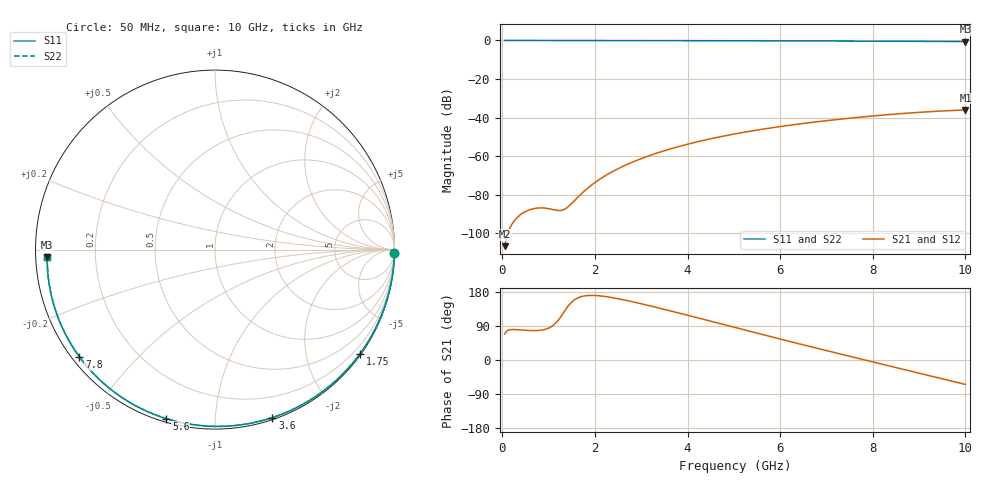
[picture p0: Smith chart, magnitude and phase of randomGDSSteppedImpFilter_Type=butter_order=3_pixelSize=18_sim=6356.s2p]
! freq	dB(S11)	phase(S11)	dB(S12)	phase(S12)
!  dB(S21)	phase(S21)	dB(S22)	phase(S22)
!S-par simulation data
#  GHz  S  DB  R 50
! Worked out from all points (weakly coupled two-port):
!   200 points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, 50 MHz to 10 GHz, reference 50 ohm
!   highest |S21| = -36.09 dB at 10 GHz (marker M1); lowest = -106.8 dB at 50 MHz (marker M2)
!   lowest |S11| = -0.6 dB at 10 GHz (marker M3), VSWR 30.16, Z = 1.66 - j1.12 ohm
!   |S11| at or under -10 dB: nowhere
!   |S22| runs from -0.6 to 0.0 dB; largest |S21 - S12| = 0
!   S11 on the Smith chart (normalised r, x): 50 MHz: open; 1.75 GHz: 0.03, -3.10; 3.6 GHz: 0.02, -1.40; 5.6 GHz: 0.02, -0.75; 7.8 GHz: 0.02, -0.35; 10 GHz: 0.03, -0.02
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0.05  -0.00 -1.0  -106.76 68.5  -106.76 68.5  -0.00 -1.0
0.45  -0.01 -9.4  -89.47 78.9  -89.47 78.9  -0.01 -9.3
0.85  -0.02 -17.6  -86.89 78.9  -86.89 78.9  -0.02 -17.6
1.65  -0.04 -33.7  -80.92 164.9  -80.92 164.9  -0.04 -33.7
1.7  -0.04 -34.7  -79.75 167.0  -79.75 167.0  -0.04 -34.7
1.75  -0.05 -35.7  -78.63 168.6  -78.63 168.6  -0.05 -35.7
1.9  -0.05 -38.7  -75.56 170.4  -75.56 170.4  -0.05 -38.7
2.05  -0.05 -41.7  -72.89 169.9  -72.89 169.9  -0.05 -41.6
2.25  -0.06 -45.6  -69.81 167.0  -69.81 167.0  -0.06 -45.6
2.45  -0.06 -49.5  -67.16 162.9  -67.16 162.9  -0.06 -49.4
2.9  -0.08 -58.1  -62.25 151.3  -62.25 151.3  -0.08 -58.0
3.4  -0.09 -67.5  -57.96 136.7  -57.96 136.7  -0.09 -67.4
3.6  -0.10 -71.1  -56.48 130.6  -56.48 130.6  -0.10 -71.1
4.3  -0.12 -83.7  -52.09 108.8  -52.09 108.8  -0.12 -83.7
5.05  -0.15 -96.8  -48.37 85.0  -48.37 85.0  -0.15 -96.7
5.6  -0.17 -106.0  -46.12 67.7  -46.12 67.7  -0.17 -106.0
6.15  -0.21 -115.1  -44.18 50.6  -44.18 50.6  -0.20 -115.0
6.7  -0.24 -124.1  -42.47 33.8  -42.47 33.8  -0.24 -124.0
7.8  -0.33 -141.7  -39.63 0.9  -39.63 0.9  -0.33 -141.6
8.35  -0.38 -150.4  -38.45 -15.5  -38.45 -15.5  -0.38 -150.3
9.2  -0.47 -164.2  -36.99 -40.8  -36.99 -40.8  -0.47 -164.0
10  -0.58 -177.4  -36.09 -64.4  -36.09 -64.4  -0.58 -177.3
